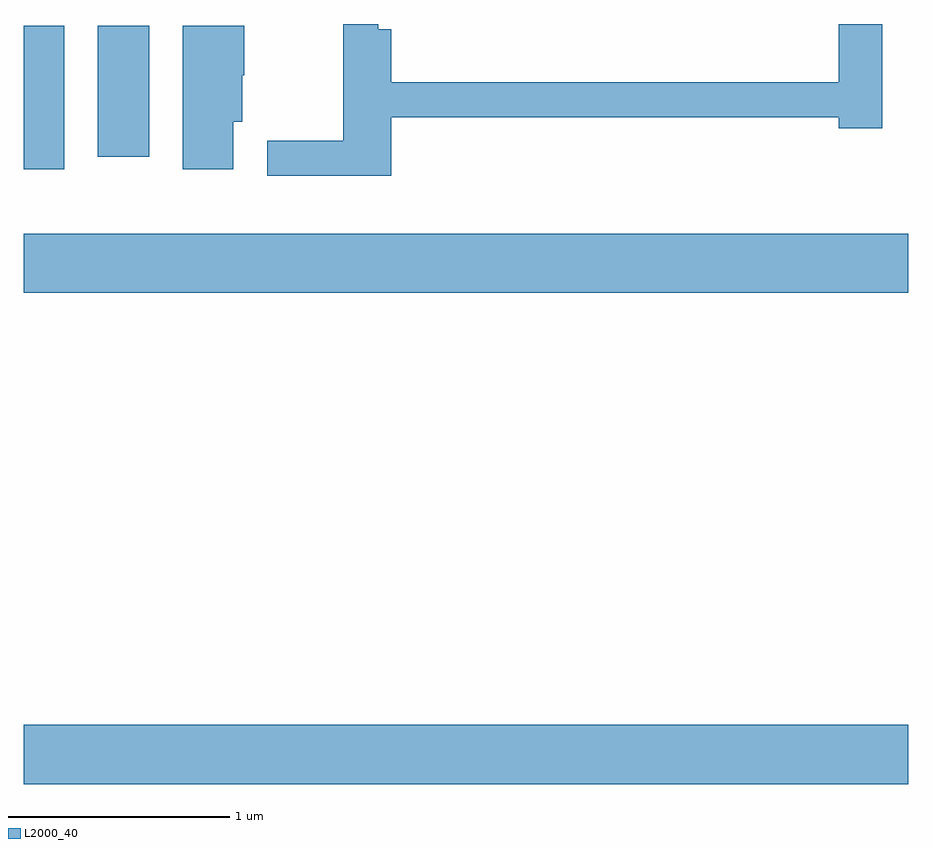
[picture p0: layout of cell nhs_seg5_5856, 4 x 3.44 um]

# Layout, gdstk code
import gdstk
lib = gdstk.Library(unit=1e-6, precision=1e-09)
def R(c, l, rs):  # rectangles x0, y0, x1, y1
    for r in rs: c.add(gdstk.rectangle(r[:2], r[2:], *l))
def P(c, l, *ps):  # polygons
    for p in ps: c.add(gdstk.Polygon(p, *l))
L2000_40 = (2000, 40)

nhs_seg5_5856 = lib.new_cell('nhs_seg5_5856')
R(nhs_seg5_5856, L2000_40, [(359.611,1394.636,363.611,1394.904), (359.611,1396.856,363.611,1397.124), (359.611,1397.416,359.794,1398.064), (359.946,1397.471,360.179,1398.064)])
P(nhs_seg5_5856, L2000_40, [(361.274,1397.651),(363.296,1397.651),(363.296,1397.601),(363.494,1397.601),(363.494,1398.072),(363.296,1398.072),(363.296,1397.809),(361.274,1397.809),(361.274,1398.049),(361.214,1398.049),(361.214,1398.072),(361.056,1398.072),(361.056,1397.544),(360.713,1397.544),(360.713,1397.386),(361.274,1397.386)],
  [(360.559,1397.631),(360.599,1397.631),(360.599,1397.84),(360.609,1397.84),(360.609,1398.064),(360.331,1398.064),(360.331,1397.416),(360.559,1397.416)])

lib.write_gds('nhs_seg5_5856.gds')
